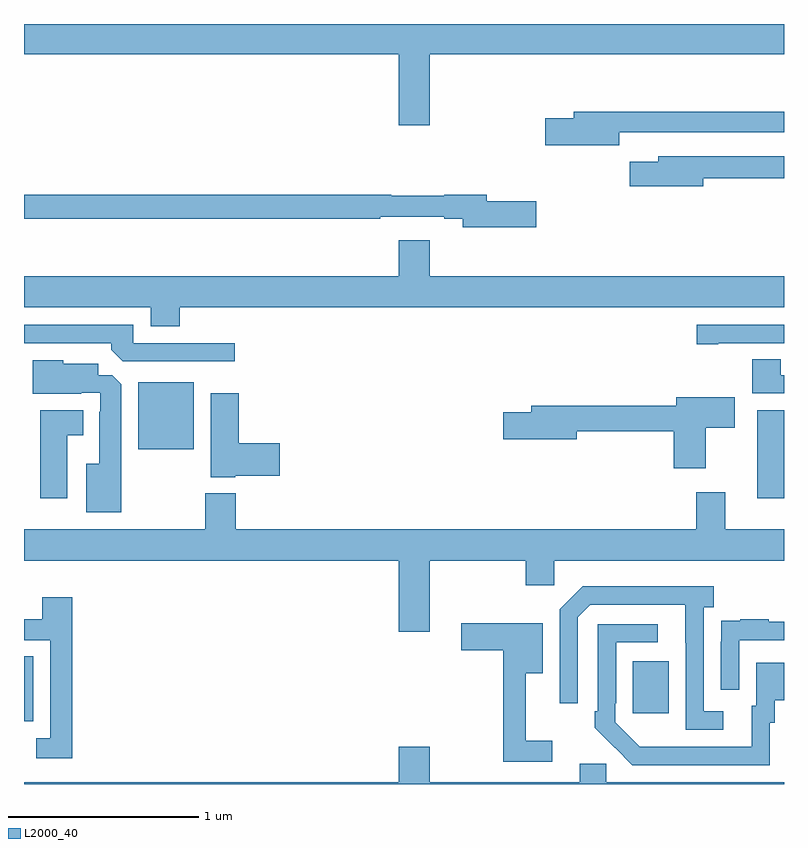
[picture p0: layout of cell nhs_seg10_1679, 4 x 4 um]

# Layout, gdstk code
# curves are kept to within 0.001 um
import gdstk
lib = gdstk.Library(unit=1e-6, precision=1e-09)
def R(c, l, rs):  # rectangles x0, y0, x1, y1
    for r in rs: c.add(gdstk.rectangle(r[:2], r[2:], *l))
def P(c, l, *ps):  # polygons
    for p in ps: c.add(gdstk.Polygon(p, *l))
L2000_40 = (2000, 40)

nhs_seg10_1679 = lib.new_cell('nhs_seg10_1679')
R(nhs_seg10_1679, L2000_40, [(199,1272.829,199.048,1273.172), (202.205,1272.873,202.393,1273.147), (202.859,1274.004,203,1274.467), (199.601,1274.261,199.894,1274.614)])
P(nhs_seg10_1679, L2000_40, [(201.136,1276.34),(203,1276.34),(203,1276.5),(199,1276.5),(199,1276.34),(200.972,1276.34),(200.972,1275.966),(201.136,1275.966)],
  [(202.132,1275.93),(203,1275.93),(203,1276.039),(201.893,1276.039),(201.893,1276.005),(201.744,1276.005),(201.744,1275.863),(202.132,1275.863)],
  [(202.576,1275.688),(203,1275.688),(203,1275.804),(202.337,1275.804),(202.337,1275.775),(202.188,1275.775),(202.188,1275.646),(202.576,1275.646)],
  [(201.697,1275.566),(201.436,1275.566),(201.436,1275.602),(201.212,1275.602),(201.212,1275.595),(200.932,1275.595),(200.932,1275.602),(199,1275.602),(199,1275.474),(200.876,1275.474),(200.876,1275.486),(201.212,1275.486),(201.212,1275.474),(201.308,1275.474),(201.308,1275.431),(201.697,1275.431)],
  [(199.82,1275.008),(203,1275.008),(203,1275.172),(201.136,1275.172),(201.136,1275.361),(200.972,1275.361),(200.972,1275.172),(199,1275.172),(199,1275.008),(199.667,1275.008),(199.667,1274.909),(199.82,1274.909)],
  [(202.654,1274.82),(203,1274.82),(203,1274.916),(202.542,1274.916),(202.542,1274.815),(202.654,1274.815)],
  [(200.11,1274.82),(199.575,1274.82),(199.575,1274.916),(199,1274.916),(199,1274.82),(199.46,1274.82),(199.46,1274.786),(199.521,1274.724),(200.11,1274.724)],
  [(203,1274.652),(202.984,1274.652),(202.984,1274.735),(202.832,1274.735),(202.832,1274.556),(203,1274.556)],
  [(199.513,1274.603),(199.464,1274.652),(199.39,1274.652),(199.39,1274.713),(199.206,1274.713),(199.206,1274.731),(199.046,1274.731),(199.046,1274.555),(199.301,1274.555),(199.301,1274.559),(199.401,1274.559),(199.401,1274.459),(199.397,1274.459),(199.397,1274.185),(199.328,1274.185),(199.328,1273.931),(199.513,1273.931)],
  [(200.112,1274.123),(200.347,1274.123),(200.347,1274.294),(200.129,1274.294),(200.129,1274.557),(199.982,1274.557),(199.982,1274.114),(200.112,1274.114)],
  [(202.588,1274.374),(202.741,1274.374),(202.741,1274.536),(202.433,1274.536),(202.433,1274.492),(201.671,1274.492),(201.671,1274.456),(201.522,1274.456),(201.522,1274.314),(201.91,1274.314),(201.91,1274.356),(202.421,1274.356),(202.421,1274.163),(202.588,1274.163)],
  [(199.228,1274.336),(199.312,1274.336),(199.312,1274.467),(199.085,1274.467),(199.085,1274.004),(199.228,1274.004)],
  [(200.972,1273.302),(201.136,1273.302),(201.136,1273.676),(201.641,1273.676),(201.641,1273.545),(201.792,1273.545),(201.792,1273.676),(203,1273.676),(203,1273.84),(202.69,1273.84),(202.69,1274.035),(202.538,1274.035),(202.538,1273.84),(200.114,1273.84),(200.114,1274.029),(199.954,1274.029),(199.954,1273.84),(199,1273.84),(199,1273.676),(200.972,1273.676)],
  [(202.681,1272.882),(202.578,1272.882),(202.578,1273.43),(202.63,1273.43),(202.63,1273.54),(201.94,1273.54),(201.819,1273.419),(201.819,1272.924),(201.915,1272.924),(201.915,1273.377),(201.981,1273.443),(202.481,1273.443),(202.482,1272.786),(202.681,1272.786)],
  [(199.253,1273.483),(199.097,1273.483),(199.097,1273.366),(199.001,1273.366),(199.001,1273.353),(199,1273.353),(199,1273.257),(199.137,1273.257),(199.137,1272.741),(199.065,1272.741),(199.065,1272.636),(199.253,1272.636)],
  [(202.764,1273.257),(203,1273.257),(203,1273.353),(202.919,1273.353),(202.919,1273.366),(202.771,1273.366),(202.771,1273.359),(202.669,1273.359),(202.669,1273.25),(202.668,1273.25),(202.668,1272.996),(202.764,1272.996)],
  [(201.781,1272.727),(201.641,1272.727),(201.641,1273.082),(201.73,1273.082),(201.73,1273.347),(201.3,1273.347),(201.3,1273.205),(201.523,1273.205),(201.523,1272.618),(201.781,1272.618)],
  [(202.926,1272.822),(202.951,1272.822),(202.951,1272.941),(203,1272.941),(203,1273.138),(202.853,1273.138),(202.853,1272.912),(202.829,1272.912),(202.829,1272.696),(202.242,1272.697),(202.113,1272.825),(202.113,1272.925),(202.116,1272.925),(202.116,1273.245),(202.336,1273.245),(202.336,1273.341),(202.02,1273.341),(202.02,1272.883),(202.005,1272.883),(202.005,1272.795),(202.202,1272.6),(202.926,1272.6)],
  [(203,1272.508),(202.065,1272.508),(202.065,1272.606),(201.926,1272.606),(201.926,1272.508),(201.136,1272.508),(201.136,1272.697),(200.972,1272.697),(200.972,1272.508),(199,1272.508),(199,1272.5),(203,1272.5)])

lib.write_gds('nhs_seg10_1679.gds')
